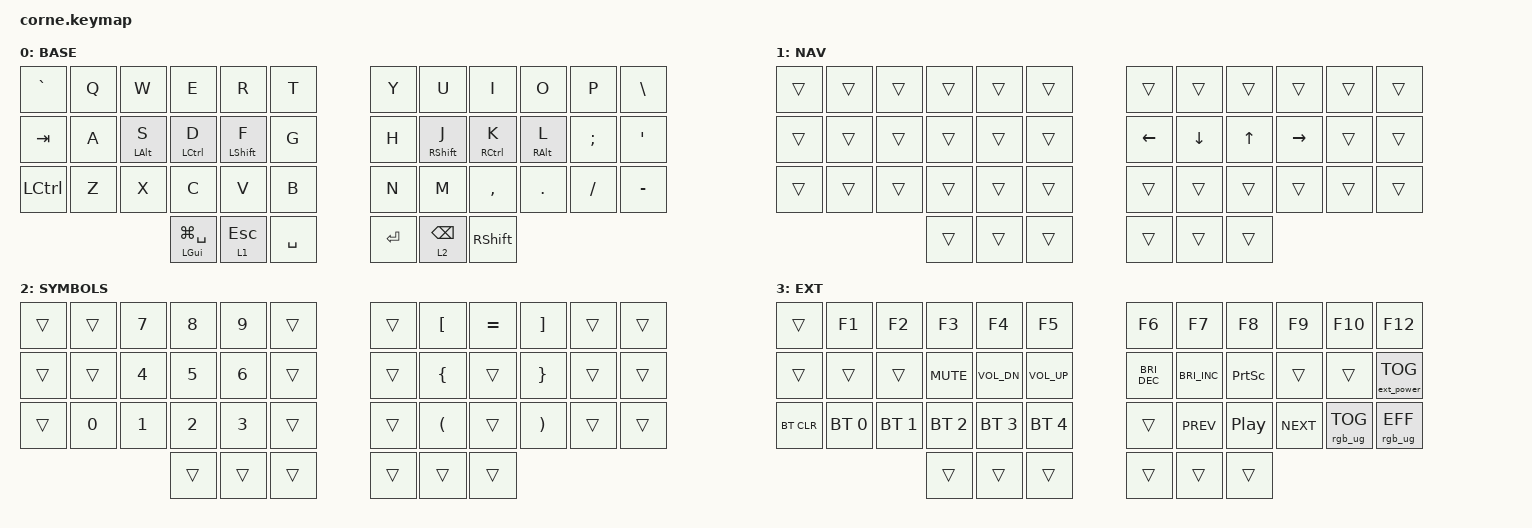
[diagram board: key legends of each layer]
#include <behaviors.dtsi>
#include <dt-bindings/zmk/bt.h>
#include <dt-bindings/zmk/ext_power.h>
#include <dt-bindings/zmk/keys.h>
#include <dt-bindings/zmk/rgb.h>

&led_strip {
    chain-length = <6>;

    // chain-length = <27>;
    // 21 backlight + 6 glowlight
};

#define TAPPING_TERM 200

&mt {
    tapping-term-ms = <180>;
    flavor = "balanced";
};

/ {
    behaviors {
        /*
    * td_lock groups locking functions into one key:
    *  - tap once to lock the host
    *  - tap twice to put the host to sleep

    */

        td_lock: tap_dance_lock {
            compatible = "zmk,behavior-tap-dance";
            label = "TAP_DANCE_LOCK";
            #binding-cells = <0>;
            tapping-term-ms = <TAPPING_TERM>;
            bindings = <&kp LG(LC(Q))>, <&kp LG(LA(C_EJECT))>;
        };
    };

    combos {
        compatible = "zmk,combos";

        Clear_BLE_Profile {
            bindings = <&bt BT_CLR>;
            key-positions = <0 38 5>;
        };

        Space {
            bindings = <&kp SPACE>;
            key-positions = <29 28>;
        };

        Enter {
            bindings = <&kp ENTER>;
            key-positions = <17 16>;
        };

        Capslock {
            bindings = <&kp CLCK>;
            key-positions = <5 6>;
        };
    };

    macros {
        git_status: git_status {
            compatible = "zmk,behavior-macro";
            #binding-cells = <0>;
            bindings = <&kp G &kp I &kp T &kp SPACE &kp S &kp T &kp A &kp T &kp U &kp S>;
            label = "GIT_STATUS";
        };

        git_commit_all: git_commit_all {
            compatible = "zmk,behavior-macro";
            #binding-cells = <0>;
            bindings = <&kp G &kp I &kp T &kp SPACE &kp C &kp O &kp M &kp M &kp I &kp T &kp SPACE &kp MINUS &kp A &kp MINUS &kp M &kp SPACE &kp DQT &kp DQT &kp LEFT_ARROW>;
            label = "GIT_COMMIT";
        };
    };

    keymap {
        compatible = "zmk,keymap";

        base_layer {
            label = "BASE";
            bindings = <
&kp GRAVE         &kp Q  &kp W           &kp E                   &kp R             &kp T        &kp Y      &kp U              &kp I            &kp O            &kp P      &kp BACKSLASH
&kp TAB           &kp A  &mt LEFT_ALT S  &mt LCTRL D             &mt LEFT_SHIFT F  &kp G        &kp H      &mt RIGHT_SHIFT J  &mt RCTRL K      &mt RIGHT_ALT L  &kp SEMI   &kp SINGLE_QUOTE
&kp LEFT_CONTROL  &kp Z  &kp X           &kp C                   &kp V             &kp B        &kp N      &kp M              &kp COMMA        &kp DOT          &kp SLASH  &kp MINUS
                                         &mt LEFT_GUI LG(SPACE)  &lt 1 ESCAPE      &kp SPACE    &kp ENTER  &lt 2 BACKSPACE    &kp RIGHT_SHIFT
            >;
        };

        nav_layer {
            label = "NAV";
            bindings = <
&trans  &trans  &trans  &trans  &trans  &trans    &trans    &trans    &trans  &trans     &trans  &trans
&trans  &trans  &trans  &trans  &trans  &trans    &kp LEFT  &kp DOWN  &kp UP  &kp RIGHT  &trans  &trans
&trans  &trans  &trans  &trans  &trans  &trans    &trans    &trans    &trans  &trans     &trans  &trans
                        &trans  &trans  &trans    &trans    &trans    &trans
            >;
        };

        symbols_layer {
            label = "SYMBOLS";
            bindings = <
&trans  &trans  &kp N7        &kp N8        &kp N9        &trans    &trans  &kp LEFT_BRACKET      &kp EQUAL  &kp RIGHT_BRACKET      &trans  &trans
&trans  &trans  &kp NUMBER_4  &kp N5        &kp NUMBER_6  &trans    &trans  &kp LEFT_BRACE        &trans     &kp RIGHT_BRACE        &trans  &trans
&trans  &kp N0  &kp NUMBER_1  &kp NUMBER_2  &kp NUMBER_3  &trans    &trans  &kp LEFT_PARENTHESIS  &trans     &kp RIGHT_PARENTHESIS  &trans  &trans
                              &trans        &trans        &trans    &trans  &trans                &trans
            >;
        };

        extended_layer {
            label = "EXT";
            bindings = <
&trans      &kp F1        &kp F2        &kp F3        &kp F4        &kp F5          &kp F6                &kp F7                &kp F8            &kp F9      &kp F10          &kp F12
&trans      &trans        &trans        &kp K_MUTE    &kp C_VOL_DN  &kp C_VOL_UP    &kp C_BRIGHTNESS_DEC  &kp C_BRIGHTNESS_INC  &kp PRINTSCREEN   &trans      &trans           &ext_power EP_TOG
&bt BT_CLR  &bt BT_SEL 0  &bt BT_SEL 1  &bt BT_SEL 2  &bt BT_SEL 3  &bt BT_SEL 4    &trans                &kp C_PREV            &kp C_PLAY_PAUSE  &kp C_NEXT  &rgb_ug RGB_TOG  &rgb_ug RGB_EFF
                                        &trans        &trans        &trans          &trans                &trans                &trans
            >;
        };
    };

    conditional_layers {
        compatible = "zmk,conditional-layers";

        Activate_EXT {
            if-layers = <1 2>;
            then-layer = <3>;
        };
    };
};

